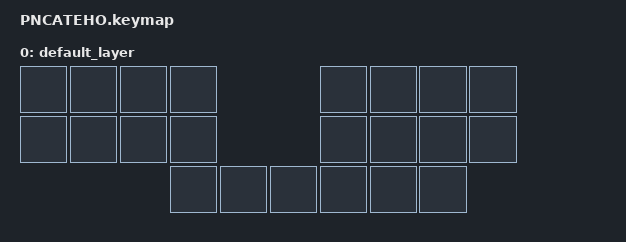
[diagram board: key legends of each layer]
/*
 * Copyright (c) 2020 The ZMK Contributors
 *
 * SPDX-License-Identifier: MIT
 */
#include <behaviors.dtsi>
#include <dt-bindings/zmk/bt.h>
#include <dt-bindings/zmk/keys.h>
#include <dt-bindings/zmk/outputs.h>
#include <dt-bindings/zmk/ext_power.h>

// CONFIG
#define COMBO_TIMEOUT 100
#define COMBO_LAYERS 0
#define STICKY_TIMEOUT 500

// LEFT SIDE
#define TLP 0 // TOP
#define TLR 1 // TOP
#define TLM 2 // TOP
#define TLI 3 // TOP
#define BLP 8 // BOTTOM
#define BLR 9 // BOTTOM
#define BLM 10 // BOTTOM
#define BLI 11 // BOTTOM
#define LOT 16 // O-THUMB
#define LIT 17 // I-THUMB

// RIGHT SIDE
#define TRP 7 // TOP
#define TRR 6 // TOP
#define TRM 5 // TOP
#define TRI 4 // TOP
#define BRP 15 // BOTTOM
#define BRR 14 // BOTTOM
#define BRM 13 // BOTTOM
#define BRI 12 // BOTTOM
#define ROT 19 // O-THUMB
#define RIT 18 // I-THUMB

&sk {
    release-after-ms = <STICKY_TIMEOUT>;
    quick-release;
    ignore-modifiers;
};

/ {
  combos {
    compatible = "zmk,combos";
    #include "chords.dtsi"
  };

  keymap {
    compatible = "zmk,keymap";

    default_layer {
      bindings = <
        &none &none &none &none               &none &none &none &none     
        &none &none &none &none               &none &none &none &none     
                          &none &none   &none &none &none &none     
      >;
    };
  };
};
